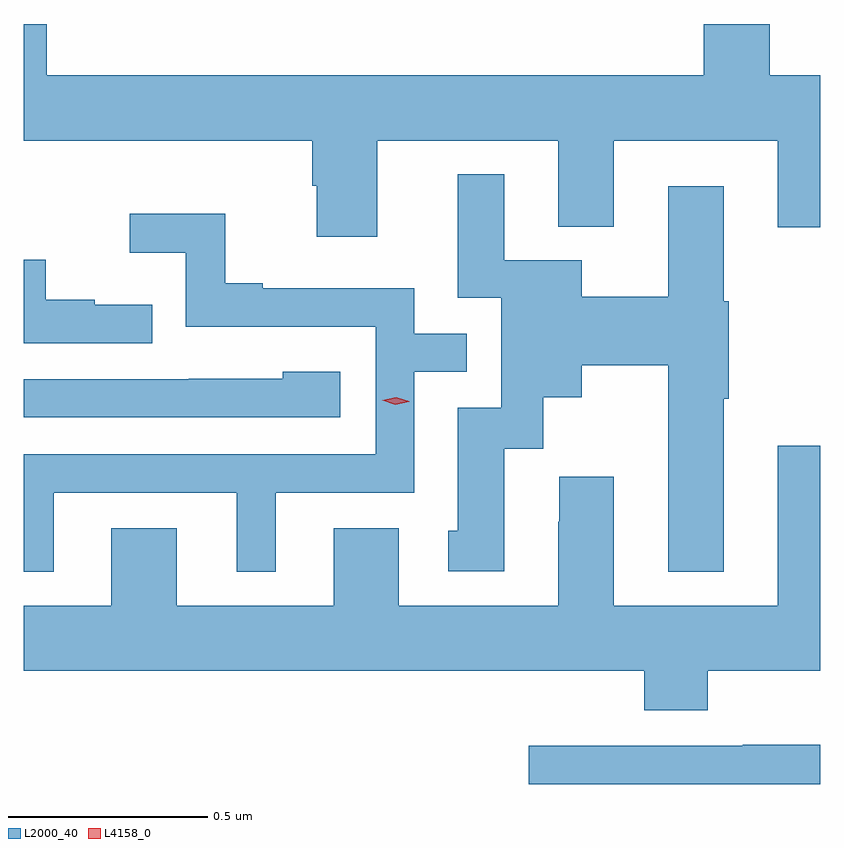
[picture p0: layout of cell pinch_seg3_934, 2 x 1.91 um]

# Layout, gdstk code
import gdstk
lib = gdstk.Library(unit=1e-6, precision=1e-09)
def P(c, l, *ps):  # polygons
    for p in ps: c.add(gdstk.Polygon(p, *l))
L2000_40 = (2000, 40)
L4158_0 = (4158, 0)

pinch_seg3_934 = lib.new_cell('pinch_seg3_934')
P(pinch_seg3_934, L2000_40, [(780.817,683.6),(781.271,683.6),(781.271,683.384),(781.411,683.384),(781.411,683.6),(781.823,683.6),(781.823,683.382),(781.929,683.382),(781.929,683.764),(781.802,683.764),(781.802,683.893),(781.637,683.893),(781.637,683.764),(779.986,683.764),(779.986,683.893),(779.929,683.893),(779.929,683.6),(780.653,683.6),(780.653,683.487),(780.665,683.487),(780.665,683.358),(780.817,683.358)],
  [(781.687,682.952),(781.7,682.952),(781.7,683.196),(781.687,683.196),(781.687,683.485),(781.547,683.485),(781.547,683.208),(781.33,683.208),(781.33,683.299),(781.135,683.299),(781.135,683.515),(781.019,683.515),(781.019,683.205),(781.128,683.205),(781.128,682.929),(781.019,682.929),(781.019,682.62),(780.995,682.62),(780.995,682.518),(781.135,682.518),(781.135,682.826),(781.233,682.826),(781.233,682.955),(781.33,682.955),(781.33,683.036),(781.547,683.036),(781.547,682.517),(781.687,682.517)],
  [(780.004,682.716),(780.464,682.716),(780.464,682.517),(780.562,682.517),(780.562,682.716),(780.909,682.716),(780.909,683.019),(781.042,683.019),(781.042,683.115),(780.909,683.115),(780.909,683.229),(780.529,683.229),(780.529,683.242),(780.435,683.242),(780.435,683.417),(780.195,683.417),(780.195,683.318),(780.336,683.318),(780.336,683.133),(780.813,683.133),(780.813,682.812),(779.929,682.812),(779.929,682.517),(780.004,682.517)],
  [(780.251,683.188),(780.107,683.188),(780.107,683.2),(779.984,683.2),(779.984,683.301),(779.929,683.301),(779.929,683.091),(780.251,683.091)],
  [(780.724,683.02),(780.579,683.02),(780.579,683.002),(780.343,683.002),(780.343,683.001),(779.929,683.001),(779.929,682.905),(780.724,682.905)],
  [(781.647,682.268),(781.929,682.268),(781.929,682.834),(781.823,682.834),(781.823,682.432),(781.411,682.432),(781.411,682.756),(781.274,682.756),(781.274,682.643),(781.271,682.643),(781.271,682.432),(780.871,682.432),(780.871,682.627),(780.707,682.627),(780.707,682.432),(780.313,682.432),(780.313,682.627),(780.149,682.627),(780.149,682.432),(779.929,682.432),(779.929,682.268),(781.487,682.268),(781.487,682.169),(781.647,682.169)],
  [(781.929,682.082),(781.735,682.082),(781.735,682.08),(781.197,682.08),(781.197,681.984),(781.929,681.984)])
P(pinch_seg3_934, L4158_0, [(780.862,682.936),(780.829,682.948),(780.828,682.948),(780.829,682.948),(780.864,682.956),(780.897,682.945),(780.897,682.944),(780.897,682.944)])

lib.write_gds('pinch_seg3_934.gds')
